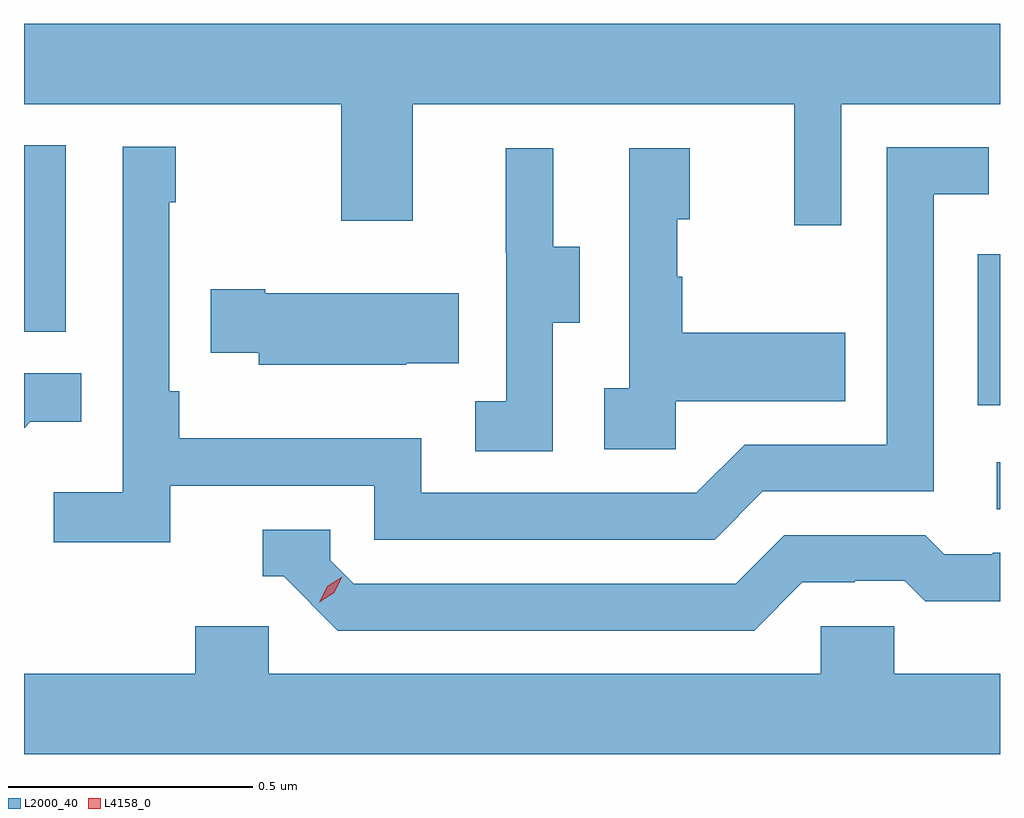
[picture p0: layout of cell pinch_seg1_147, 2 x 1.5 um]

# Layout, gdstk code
import gdstk
lib = gdstk.Library(unit=1e-6, precision=1e-09)
def R(c, l, rs):  # rectangles x0, y0, x1, y1
    for r in rs: c.add(gdstk.rectangle(r[:2], r[2:], *l))
def P(c, l, *ps):  # polygons
    for p in ps: c.add(gdstk.Polygon(p, *l))
L2000_40 = (2000, 40)
L4158_0 = (4158, 0)

pinch_seg1_147 = lib.new_cell('pinch_seg1_147')
R(pinch_seg1_147, L2000_40, [(1118.661,549.57,1118.668,549.666), (1118.622,549.783,1118.668,550.092), (1116.668,549.933,1116.754,550.315)])
P(pinch_seg1_147, L2000_40, [(1116.668,550.4),(1117.318,550.4),(1117.318,550.161),(1117.465,550.161),(1117.465,550.4),(1118.246,550.4),(1118.246,550.152),(1118.343,550.152),(1118.343,550.4),(1118.668,550.4),(1118.668,550.564),(1116.668,550.564)],
  [(1116.968,549.618),(1117.386,549.618),(1117.386,549.507),(1118.083,549.507),(1118.182,549.606),(1118.532,549.606),(1118.532,550.215),(1118.645,550.215),(1118.645,550.311),(1118.436,550.311),(1118.436,549.702),(1118.145,549.702),(1118.046,549.603),(1117.482,549.603),(1117.482,549.715),(1116.986,549.715),(1116.986,549.811),(1116.966,549.811),(1116.966,550.199),(1116.979,550.199),(1116.979,550.312),(1116.87,550.312),(1116.87,549.604),(1116.729,549.604),(1116.729,549.502),(1116.968,549.502)],
  [(1117.752,549.952),(1117.807,549.952),(1117.807,550.107),(1117.753,550.107),(1117.753,550.309),(1117.655,550.309),(1117.655,550.095),(1117.656,550.095),(1117.656,549.791),(1117.593,549.791),(1117.593,549.688),(1117.752,549.688)],
  [(1118.004,549.791),(1118.351,549.791),(1118.351,549.931),(1118.017,549.931),(1118.017,550.046),(1118.007,550.046),(1118.007,550.164),(1118.032,550.164),(1118.032,550.309),(1117.908,550.309),(1117.908,549.818),(1117.857,549.818),(1117.857,549.693),(1118.004,549.693)],
  [(1117.451,549.869),(1117.559,549.869),(1117.559,550.012),(1117.162,550.012),(1117.162,550.02),(1117.051,550.02),(1117.051,549.89),(1117.149,549.89),(1117.149,549.866),(1117.451,549.866)],
  [(1116.681,549.749),(1116.785,549.749),(1116.785,549.848),(1116.668,549.848),(1116.668,549.736)],
  [(1118.263,549.42),(1118.37,549.42),(1118.37,549.423),(1118.473,549.423),(1118.515,549.381),(1118.668,549.381),(1118.668,549.48),(1118.653,549.48),(1118.653,549.477),(1118.554,549.477),(1118.515,549.516),(1118.226,549.516),(1118.127,549.417),(1117.344,549.417),(1117.296,549.465),(1117.296,549.528),(1117.157,549.528),(1117.157,549.432),(1117.2,549.432),(1117.311,549.321),(1118.164,549.321)],
  [(1117.019,549.33),(1117.019,549.232),(1116.668,549.232),(1116.668,549.068),(1118.668,549.068),(1118.668,549.232),(1118.451,549.232),(1118.451,549.33),(1118.301,549.33),(1118.301,549.232),(1117.17,549.232),(1117.17,549.33)])
P(pinch_seg1_147, L4158_0, [(1117.273,549.379),(1117.273,549.379),(1117.289,549.412),(1117.32,549.431),(1117.32,549.431),(1117.32,549.431),(1117.304,549.398),(1117.273,549.379)])

lib.write_gds('pinch_seg1_147.gds')
